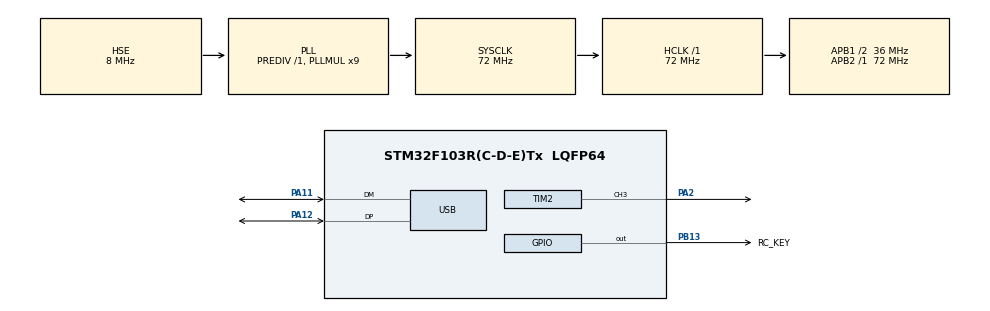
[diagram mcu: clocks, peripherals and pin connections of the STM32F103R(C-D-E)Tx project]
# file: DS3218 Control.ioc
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Mcu.Family=STM32F1
Mcu.Name=STM32F103R(C-D-E)Tx
Mcu.Package=LQFP64
NVIC.PriorityGroup=NVIC_PRIORITYGROUP_4
NVIC.USB_LP_CAN1_RX0_IRQn=true\:0\:0\:false\:false\:true\:false\:true\:true
PA11.Mode=Device
PA11.Signal=USB_DM
PA12.Mode=Device
PA12.Signal=USB_DP
PA13.Mode=Serial_Wire
PA13.Signal=SYS_JTMS-SWDIO
PA14.Mode=Serial_Wire
PA14.Signal=SYS_JTCK-SWCLK
PA2.Signal=S_TIM2_CH3
PB13.GPIO_Label=RC_KEY
PB13.Signal=GPIO_Output
PC14-OSC32_IN.Mode=LSE-External-Oscillator
PC14-OSC32_IN.Signal=RCC_OSC32_IN
PC15-OSC32_OUT.Mode=LSE-External-Oscillator
PC15-OSC32_OUT.Signal=RCC_OSC32_OUT
PD0-OSC_IN.Mode=HSE-External-Oscillator
PD0-OSC_IN.Signal=RCC_OSC_IN
PD1-OSC_OUT.Mode=HSE-External-Oscillator
PD1-OSC_OUT.Signal=RCC_OSC_OUT
ProjectManager.HeapSize=0x200
ProjectManager.StackSize=0x400
ProjectManager.TargetToolchain=STM32CubeIDE
RCC.AHBFreq_Value=72000000
RCC.APB1CLKDivider=RCC_HCLK_DIV2
RCC.APB1Freq_Value=36000000
RCC.APB1TimFreq_Value=72000000
RCC.APB2Freq_Value=72000000
RCC.APB2TimFreq_Value=72000000
RCC.HCLKFreq_Value=72000000
RCC.PLLMUL=RCC_PLL_MUL9
RCC.PLLSourceVirtual=RCC_PLLSOURCE_HSE
RCC.SYSCLKFreq_VALUE=72000000
RCC.SYSCLKSource=RCC_SYSCLKSOURCE_PLLCLK
RCC.USBFreq_Value=48000000
RCC.USBPrescaler=RCC_USBCLKSOURCE_PLL_DIV1_5
SH.S_TIM2_CH3.0=TIM2_CH3,PWM Generation3 CH3
TIM2.Channel-PWM\ Generation3\ CH3=TIM_CHANNEL_3
TIM2.Period=19999
TIM2.Prescaler=71
USB_DEVICE.CLASS_NAME_FS=CUSTOM_HID
USB_DEVICE.CUSTOM_HID_FS_BINTERVAL=0x1
USB_DEVICE.PID_CUSTOMHID_FS=10000
USB_DEVICE.USBD_CUSTOMHID_OUTREPORT_BUF_SIZE=64
USB_DEVICE.USBD_CUSTOM_HID_REPORT_DESC_SIZE=39
USB_DEVICE.VID=1002
USB_DEVICE.VirtualMode=CustomHid
USB_DEVICE.VirtualModeFS=Custom_Hid_FS
VP_USB_DEVICE_VS_USB_DEVICE_CUSTOM_HID_FS.Mode=CUSTOM_HID_FS
board=custom

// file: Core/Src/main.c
/* USER CODE BEGIN Header */
/**
 ******************************************************************************
 * @file           : main.c
 * @brief          : Main program body
 ******************************************************************************
 * @attention
 *
 * Copyright (c) 2026 STMicroelectronics.
 * All rights reserved.
 *
 * This software is licensed under terms that can be found in the LICENSE file
 * in the root directory of this software component.
 * If no LICENSE file comes with this software, it is provided AS-IS.
 *
 ******************************************************************************
 */
/* USER CODE END Header */
#include "main.h"
#include "tim.h"
#include "usb_device.h"
#include "gpio.h"

/* USER CODE BEGIN Includes */
#include <stdbool.h>
#include <string.h>
#include <stdint.h>
#include "usbd_custom_hid_if.h"
/* USER CODE END Includes */

/* USER CODE BEGIN PD */
#define SERVO_CENTER_US 1500
#define SERVO_MIN_US 518
#define SERVO_MAX_US 2482

#define HID_OUT_LEN 64
#define HID_IN_LEN 64

#define MAX_ANGLE 135
/* USER CODE END PD */

/* USER CODE BEGIN PV */
extern USBD_HandleTypeDef hUsbDeviceFS;
extern volatile uint8_t g_hid_rx_flag;
extern volatile uint32_t g_hid_rx_len;
extern uint8_t g_hid_rx_buf[HID_OUT_LEN];
/* USER CODE END PV */

void SystemClock_Config(void);

/* USER CODE BEGIN 0 */
void servoSetPulseUs(uint16_t us) {
	if (us < SERVO_MIN_US)
		us = SERVO_MIN_US;
	if (us > SERVO_MAX_US)
		us = SERVO_MAX_US;

	__HAL_TIM_SET_COMPARE(&htim2, TIM_CHANNEL_3, us);
}

void servoSetAngle(int16_t angle_deg) {
	// [-135, 135]
	if (angle_deg < -MAX_ANGLE)
		angle_deg = -MAX_ANGLE;
	if (angle_deg > MAX_ANGLE)
		angle_deg = MAX_ANGLE;

	int32_t span = (SERVO_MAX_US - SERVO_CENTER_US);
	int32_t us = SERVO_CENTER_US + ((int32_t) angle_deg * span) / MAX_ANGLE;

	// [0, 270]
	//	if (angle_deg < 0 || angle_deg > 270) {
	//		return;
	//	}
	//	uint16_t us = SERVO_MIN_US + angle_deg / 270 * (SERVO_MAX_US - SERVO_MIN_US);
	servoSetPulseUs((uint16_t) us);
}

void sleep(uint16_t s) {
	HAL_Delay(s * 1000);
}

static inline int16_t clampI16(int16_t num, int16_t lo, int16_t hi) {
	if (num < lo)
		return lo;
	if (num > hi)
		return hi;

	return num;
}

typedef struct {
	uint8_t cmd;
	uint16_t mag;
} HidCmd;

static HidCmd hidReadCmd(void) {
	HidCmd out = { 0 };
	out.cmd = g_hid_rx_buf[0];
	out.mag = ((uint16_t) g_hid_rx_buf[1] << 8) | (uint16_t) g_hid_rx_buf[2];
	return out;
}

int16_t cmdToAngle(int16_t angle, uint8_t cmd, uint16_t mag) {
	switch (cmd) {
	case 0x00:
		angle = +(int16_t) mag;
		break;  // SET CCW
	case 0x01:
		angle = -(int16_t) mag;
		break;  // SET CW
	case 0x02:
		angle += (int16_t) mag;
		break;  // ADD CCW
	case 0x03:
		angle -= (int16_t) mag;
		break;  // ADD CW
	case 0x10:
		angle = 0;
		break;
	default: /* ignore unknown */
		break;
	}

	return clampI16(angle, -MAX_ANGLE, MAX_ANGLE);
}

void debug(HidCmd c) {
	static uint8_t tx[64];
	memset(tx, 0, sizeof(tx));
	tx[0] = c.cmd;
	tx[2] = c.mag & 0xFF;
	tx[1] = (c.mag >> 8) & 0xFF;
	tx[3] = g_hid_rx_len;

	USBD_CUSTOM_HID_SendReport(&hUsbDeviceFS, tx, 64);
}
/* USER CODE END 0 */

int main(void) {

	/* MCU Configuration--------------------------------------------------------*/

	/* Reset of all peripherals, Initializes the Flash interface and the Systick. */
	HAL_Init();

	/* Configure the system clock */
	SystemClock_Config();

	/* Initialize all configured peripherals */
	MX_GPIO_Init();
	MX_TIM2_Init();
	MX_USB_DEVICE_Init();
	/* USER CODE BEGIN 2 */

	HAL_GPIO_WritePin(RC_KEY_GPIO_Port, RC_KEY_Pin, GPIO_PIN_SET);

	HAL_TIM_PWM_Start(&htim2, TIM_CHANNEL_3);
//	__HAL_TIM_SET_COMPARE(&htim2, TIM_CHANNEL_3, 1500);
	servoSetAngle(0);
//	sleep(2);
//	servoSetAngle(-90);

	/* USER CODE END 2 */

	/* Infinite loop */
	/* USER CODE BEGIN WHILE */
	static int16_t target_angle = 0;
	static int16_t current_angle = 0;
	while (1) {

		// Protocol:
		// g_hid_rx_buf[0] = SET CCW (0) / SET CW (1); ADD CCW (2) / ADD CW (3);
		// g_hid_rx_buf[1] = angle in degree (large byte)
		// g_hid_rx_buf[2] = angle in degree (small byte)
		if (g_hid_rx_flag) {
			g_hid_rx_flag = 0;

			HidCmd c = hidReadCmd();
			target_angle = cmdToAngle(current_angle, c.cmd, c.mag);

			servoSetAngle(target_angle);

			current_angle = target_angle;

			debug(c);
		}
		/* USER CODE END WHILE */
	}

}

void SystemClock_Config(void) {
	RCC_OscInitTypeDef RCC_OscInitStruct = { 0 };
	RCC_ClkInitTypeDef RCC_ClkInitStruct = { 0 };
	RCC_PeriphCLKInitTypeDef PeriphClkInit = { 0 };

	/** Initializes the RCC Oscillators according to the specified parameters
	 * in the RCC_OscInitTypeDef structure.
	 */
	RCC_OscInitStruct.OscillatorType = RCC_OSCILLATORTYPE_HSE;
	RCC_OscInitStruct.HSEState = RCC_HSE_ON;
	RCC_OscInitStruct.HSEPredivValue = RCC_HSE_PREDIV_DIV1;
	RCC_OscInitStruct.HSIState = RCC_HSI_ON;
	RCC_OscInitStruct.PLL.PLLState = RCC_PLL_ON;
	RCC_OscInitStruct.PLL.PLLSource = RCC_PLLSOURCE_HSE;
	RCC_OscInitStruct.PLL.PLLMUL = RCC_PLL_MUL9;
	if (HAL_RCC_OscConfig(&RCC_OscInitStruct) != HAL_OK) {
		Error_Handler();
	}

	/** Initializes the CPU, AHB and APB buses clocks
	 */
	RCC_ClkInitStruct.ClockType = RCC_CLOCKTYPE_HCLK | RCC_CLOCKTYPE_SYSCLK
			| RCC_CLOCKTYPE_PCLK1 | RCC_CLOCKTYPE_PCLK2;
	RCC_ClkInitStruct.SYSCLKSource = RCC_SYSCLKSOURCE_PLLCLK;
	RCC_ClkInitStruct.AHBCLKDivider = RCC_SYSCLK_DIV1;
	RCC_ClkInitStruct.APB1CLKDivider = RCC_HCLK_DIV2;
	RCC_ClkInitStruct.APB2CLKDivider = RCC_HCLK_DIV1;

	if (HAL_RCC_ClockConfig(&RCC_ClkInitStruct, FLASH_LATENCY_2) != HAL_OK) {
		Error_Handler();
	}
	PeriphClkInit.PeriphClockSelection = RCC_PERIPHCLK_USB;
	PeriphClkInit.UsbClockSelection = RCC_USBCLKSOURCE_PLL_DIV1_5;
	if (HAL_RCCEx_PeriphCLKConfig(&PeriphClkInit) != HAL_OK) {
		Error_Handler();
	}
}

void Error_Handler(void) {
	__disable_irq();
	while (1) {
	}
}
